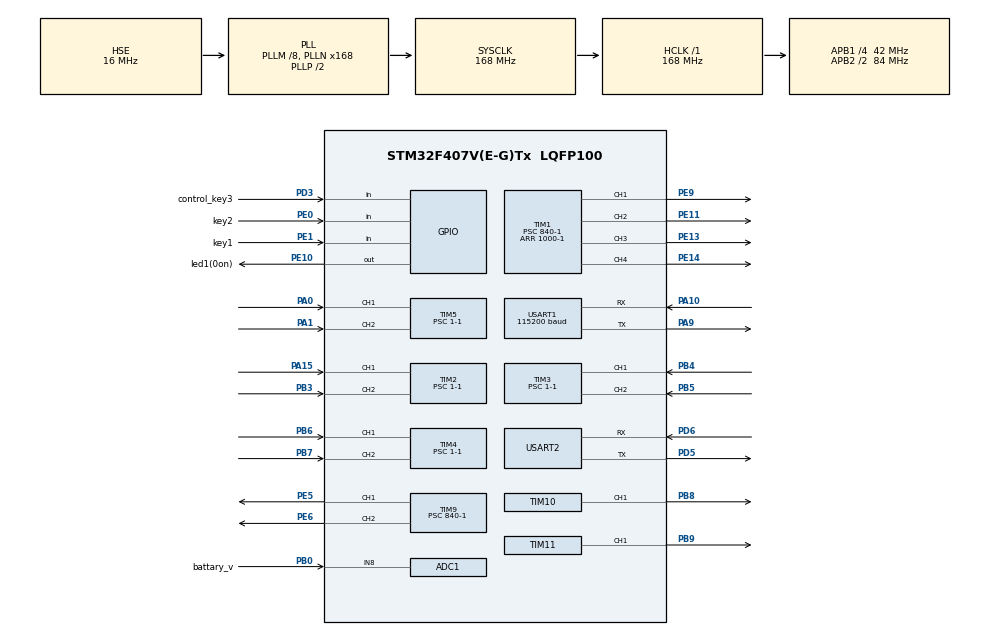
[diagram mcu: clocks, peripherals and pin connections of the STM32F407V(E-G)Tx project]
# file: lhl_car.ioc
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ADC1.Channel-0\#ChannelRegularConversion=ADC_CHANNEL_8
ADC1.ClockPrescaler=ADC_CLOCK_SYNC_PCLK_DIV8
ADC1.ContinuousConvMode=DISABLE
ADC1.DMAContinuousRequests=ENABLE
ADC1.EOCSelection=ADC_EOC_SINGLE_CONV
ADC1.EnableAnalogWatchDog=false
ADC1.ExternalTrigConv=ADC_EXTERNALTRIGCONV_T8_TRGO
ADC1.InjNumberOfConversion=0
ADC1.NbrOfConversion=1
ADC1.NbrOfConversionFlag=1
ADC1.Rank-0\#ChannelRegularConversion=1
ADC1.SamplingTime-0\#ChannelRegularConversion=ADC_SAMPLETIME_15CYCLES
ADC1.master=1
Dma.ADC1.0.Direction=DMA_PERIPH_TO_MEMORY
Dma.ADC1.0.FIFOMode=DMA_FIFOMODE_DISABLE
Dma.ADC1.0.Instance=DMA2_Stream0
Dma.ADC1.0.MemDataAlignment=DMA_MDATAALIGN_HALFWORD
Dma.ADC1.0.MemInc=DMA_MINC_ENABLE
Dma.ADC1.0.Mode=DMA_CIRCULAR
Dma.ADC1.0.PeriphDataAlignment=DMA_PDATAALIGN_HALFWORD
Dma.ADC1.0.PeriphInc=DMA_PINC_DISABLE
Dma.ADC1.0.Priority=DMA_PRIORITY_MEDIUM
Dma.Request0=ADC1
Dma.Request1=USART1_TX
Dma.USART1_TX.1.Direction=DMA_MEMORY_TO_PERIPH
Dma.USART1_TX.1.FIFOMode=DMA_FIFOMODE_DISABLE
Dma.USART1_TX.1.Instance=DMA2_Stream7
Dma.USART1_TX.1.MemDataAlignment=DMA_MDATAALIGN_BYTE
Dma.USART1_TX.1.MemInc=DMA_MINC_ENABLE
Dma.USART1_TX.1.Mode=DMA_NORMAL
Dma.USART1_TX.1.PeriphDataAlignment=DMA_PDATAALIGN_BYTE
Dma.USART1_TX.1.PeriphInc=DMA_PINC_DISABLE
Dma.USART1_TX.1.Priority=DMA_PRIORITY_HIGH
Mcu.Family=STM32F4
Mcu.Name=STM32F407V(E-G)Tx
Mcu.Package=LQFP100
NVIC.DMA2_Stream7_IRQn=true\:2\:2\:true\:false\:true\:true\:true\:true
NVIC.PriorityGroup=NVIC_PRIORITYGROUP_2
NVIC.TIM8_UP_TIM13_IRQn=true\:1\:1\:true\:false\:true\:true\:true\:true
NVIC.USART1_IRQn=true\:3\:3\:true\:false\:true\:true\:true\:true
NVIC.USART2_IRQn=true\:3\:3\:true\:false\:true\:true\:true\:true
PA0-WKUP.Signal=S_TIM5_CH1
PA1.Signal=S_TIM5_CH2
PA10.Mode=Asynchronous
PA10.Signal=USART1_RX
PA13.Mode=Serial_Wire
PA13.Signal=SYS_JTMS-SWDIO
PA14.Mode=Serial_Wire
PA14.Signal=SYS_JTCK-SWCLK
PA15.Signal=S_TIM2_CH1_ETR
PA9.Mode=Asynchronous
PA9.Signal=USART1_TX
PB0.GPIO_Label=battary_v
PB0.Signal=ADCx_IN8
PB3.Signal=S_TIM2_CH2
PB4.Signal=S_TIM3_CH1
PB5.Signal=S_TIM3_CH2
PB6.Signal=S_TIM4_CH1
PB7.Signal=S_TIM4_CH2
PB8.Signal=S_TIM10_CH1
PB9.Signal=S_TIM11_CH1
PD3.GPIO_Label=control_key3
PD3.GPIO_PuPd=GPIO_PULLDOWN
PD3.Signal=GPIO_Input
PD5.Mode=Asynchronous
PD5.Signal=USART2_TX
PD6.Mode=Asynchronous
PD6.Signal=USART2_RX
PE0.GPIO_Label=key2
PE0.GPIO_PuPd=GPIO_PULLUP
PE0.Signal=GPIO_Input
PE1.GPIO_Label=key1
PE1.GPIO_PuPd=GPIO_PULLUP
PE1.Signal=GPIO_Input
PE10.GPIO_Label=led1(0on)
PE10.GPIO_ModeDefaultOutputPP=GPIO_MODE_OUTPUT_PP
PE10.GPIO_PuPd=GPIO_PULLUP
PE10.GPIO_Speed=GPIO_SPEED_FREQ_LOW
PE10.PinState=GPIO_PIN_RESET
PE10.Signal=GPIO_Output
PE11.Signal=S_TIM1_CH2
PE13.Signal=S_TIM1_CH3
PE14.Signal=S_TIM1_CH4
PE5.Signal=S_TIM9_CH1
PE6.Signal=S_TIM9_CH2
PE9.Signal=S_TIM1_CH1
PH0-OSC_IN.Mode=HSE-External-Oscillator
PH0-OSC_IN.Signal=RCC_OSC_IN
PH1-OSC_OUT.Mode=HSE-External-Oscillator
PH1-OSC_OUT.Signal=RCC_OSC_OUT
ProjectManager.HeapSize=0x200
ProjectManager.StackSize=0x400
ProjectManager.TargetToolchain=MDK-ARM V5
RCC.48MHZClocksFreq_Value=84000000
RCC.AHBFreq_Value=168000000
RCC.APB1CLKDivider=RCC_HCLK_DIV4
RCC.APB1Freq_Value=42000000
RCC.APB1TimFreq_Value=84000000
RCC.APB2CLKDivider=RCC_HCLK_DIV2
RCC.APB2Freq_Value=84000000
RCC.APB2TimFreq_Value=168000000
RCC.CortexFreq_Value=168000000
RCC.HCLKFreq_Value=168000000
RCC.HSE_VALUE=16000000
RCC.HSI_VALUE=16000000
RCC.LSE_VALUE=32768
RCC.PLLM=8
RCC.PLLN=168
RCC.PLLSourceVirtual=RCC_PLLSOURCE_HSE
RCC.SYSCLKFreq_VALUE=168000000
RCC.SYSCLKSource=RCC_SYSCLKSOURCE_PLLCLK
RCC.VCOOutputFreq_Value=336000000
SH.ADCx_IN8.0=ADC1_IN8,IN8
SH.S_TIM10_CH1.0=TIM10_CH1,PWM Generation1 CH1
SH.S_TIM11_CH1.0=TIM11_CH1,PWM Generation1 CH1
SH.S_TIM1_CH1.0=TIM1_CH1,PWM Generation1 CH1
SH.S_TIM1_CH2.0=TIM1_CH2,PWM Generation2 CH2
SH.S_TIM1_CH3.0=TIM1_CH3,PWM Generation3 CH3
SH.S_TIM1_CH4.0=TIM1_CH4,PWM Generation4 CH4
SH.S_TIM2_CH1_ETR.0=TIM2_CH1,Encoder_Interface
SH.S_TIM2_CH2.0=TIM2_CH2,Encoder_Interface
SH.S_TIM3_CH1.0=TIM3_CH1,Encoder_Interface
SH.S_TIM3_CH2.0=TIM3_CH2,Encoder_Interface
SH.S_TIM4_CH1.0=TIM4_CH1,Encoder_Interface
SH.S_TIM4_CH2.0=TIM4_CH2,Encoder_Interface
SH.S_TIM5_CH1.0=TIM5_CH1,Encoder_Interface
SH.S_TIM5_CH2.0=TIM5_CH2,Encoder_Interface
SH.S_TIM9_CH1.0=TIM9_CH1,PWM Generation1 CH1
SH.S_TIM9_CH2.0=TIM9_CH2,PWM Generation2 CH2
TIM1.AutoReloadPreload=TIM_AUTORELOAD_PRELOAD_ENABLE
TIM1.Channel-PWM\ Generation1\ CH1=TIM_CHANNEL_1
TIM1.Channel-PWM\ Generation2\ CH2=TIM_CHANNEL_2
TIM1.Channel-PWM\ Generation3\ CH3=TIM_CHANNEL_3
TIM1.Channel-PWM\ Generation4\ CH4=TIM_CHANNEL_4
TIM1.Period=1000-1
TIM1.Prescaler=840-1
TIM1.TIM_MasterOutputTrigger=TIM_TRGO_RESET
TIM1.TIM_MasterSlaveMode=TIM_MASTERSLAVEMODE_DISABLE
TIM10.AutoReloadPreload=TIM_AUTORELOAD_PRELOAD_ENABLE
TIM10.Channel=TIM_CHANNEL_1
TIM10.Period=1000-1
TIM10.Prescaler=840-1
TIM11.AutoReloadPreload=TIM_AUTORELOAD_PRELOAD_ENABLE
TIM11.Channel=TIM_CHANNEL_1
TIM11.Period=1000-1
TIM11.Prescaler=840-1
TIM2.AutoReloadPreload=TIM_AUTORELOAD_PRELOAD_ENABLE
TIM2.EncoderMode=TIM_ENCODERMODE_TI12
TIM2.IC1Filter=0x06
TIM2.IC2Filter=0x06
TIM2.Period=65535
TIM2.Prescaler=1-1
TIM2.TIM_MasterOutputTrigger=TIM_TRGO_RESET
TIM2.TIM_MasterSlaveMode=TIM_MASTERSLAVEMODE_DISABLE
TIM3.AutoReloadPreload=TIM_AUTORELOAD_PRELOAD_ENABLE
TIM3.EncoderMode=TIM_ENCODERMODE_TI12
TIM3.IC1Filter=0x06
TIM3.IC2Filter=0x06
TIM3.Prescaler=1-1
TIM4.AutoReloadPreload=TIM_AUTORELOAD_PRELOAD_ENABLE
TIM4.EncoderMode=TIM_ENCODERMODE_TI12
TIM4.IC1Filter=0x06
TIM4.IC2Filter=0x06
TIM4.Period=65535
TIM4.Prescaler=1-1
TIM5.AutoReloadPreload=TIM_AUTORELOAD_PRELOAD_ENABLE
TIM5.EncoderMode=TIM_ENCODERMODE_TI12
TIM5.IC1Filter=0x06
TIM5.IC1Polarity=TIM_ICPOLARITY_FALLING
TIM5.IC2Filter=0x06
TIM5.Period=65535
TIM5.Prescaler=1-1
TIM8.AutoReloadPreload=TIM_AUTORELOAD_PRELOAD_ENABLE
TIM8.Period=10000-1
TIM8.Prescaler=840-1
TIM8.TIM_MasterOutputTrigger=TIM_TRGO_UPDATE
TIM9.AutoReloadPreload=TIM_AUTORELOAD_PRELOAD_ENABLE
TIM9.Channel-PWM\ Generation1\ CH1=TIM_CHANNEL_1
TIM9.Channel-PWM\ Generation2\ CH2=TIM_CHANNEL_2
TIM9.Period=1000-1
TIM9.Prescaler=840-1
USART1.BaudRate=115200
USART1.OverSampling=UART_OVERSAMPLING_16
USART1.VirtualMode=VM_ASYNC
USART2.OverSampling=UART_OVERSAMPLING_16
USART2.VirtualMode=VM_ASYNC
VP_TIM10_VS_ClockSourceINT.Mode=Enable_Timer
VP_TIM11_VS_ClockSourceINT.Mode=Enable_Timer
VP_TIM1_VS_ClockSourceINT.Mode=Internal
VP_TIM8_VS_ClockSourceINT.Mode=Internal
VP_TIM9_VS_ClockSourceINT.Mode=Internal
board=custom

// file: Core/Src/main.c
/* USER CODE BEGIN Header */
/**
  ******************************************************************************
  * @file           : main.c
  * @brief          : Main program body
  ******************************************************************************
  * @attention
  *
  * Copyright (c) 2025 STMicroelectronics.
  * All rights reserved.
  *
  * This software is licensed under terms that can be found in the LICENSE file
  * in the root directory of this software component.
  * If no LICENSE file comes with this software, it is provided AS-IS.
  *
  ******************************************************************************
  */
/* USER CODE END Header */
#include "main.h"
#include "adc.h"
#include "dma.h"
#include "tim.h"
#include "usart.h"
#include "gpio.h"

void SystemClock_Config(void);

/* USER CODE BEGIN 0 */

//uint8_t readbuffer[128];//环形

//空闲接收时先串口中断，如果持续dma中断则是dma进中断而串口不进
void HAL_UARTEx_RxEventCallback(UART_HandleTypeDef *huart, uint16_t Size)
{
	if(huart==&huart1)//给上位机的
{
	Command_Write(readbuffer,Size);
	//serial_printf("RDK%d",Command_Write(readbuffer,Size));
	HAL_UARTEx_ReceiveToIdle_IT(&huart1,readbuffer,sizeof(readbuffer));

	//HAL_UARTEx_RxEventCallback(UART_HandleTypeDef *huart, uint16_t Size)
//功能：HAL_UARTEx_ReceiveToIdle_DMA()的中断回调函数（需用户重写）。
}
else if(huart==&huart2)//给蓝牙的
{//serial_printf("BLE%d",Command_Write(readbuffer,Size));
	Command_Write(readbuffer,Size);
	HAL_UARTEx_ReceiveToIdle_IT(&huart2,readbuffer,sizeof(readbuffer));

	//HAL_UARTEx_RxEventCallback(UART_HandleTypeDef *huart, uint16_t Size)
//功能：HAL_UARTEx_ReceiveToIdle_DMA()的中断回调函数（需用户重写）。
}
//else if(huart==&huart4)
//{
//	if(The_task.is_ok==nothing)
//	{The_task.is_ok=something;
//	led1_on();}
//}
}

//发给上位机，若用了dma则只有dma进中断
void HAL_UART_TxCpltCallback(UART_HandleTypeDef *huart) {//必须开dma的中断，因为用dma发送的，要让dma叫,uart handle里面会判断如果是dma那就清除
    if (huart == &huart1) {
        // 空实现即可，但必须重写（覆盖弱函数）
        // 作用：HAL 库会在此回调中重置 gState 为 READY
//			__HAL_UART_CLEAR_FLAG(&huart1,UART_FLAG_TC);
//			huart->gState = HAL_UART_STATE_READY;
    }
}
/* USER CODE END 0 */

int main(void)
{

  /* MCU Configuration--------------------------------------------------------*/

  /* Reset of all peripherals, Initializes the Flash interface and the Systick. */
  HAL_Init();

  /* Configure the system clock */
  SystemClock_Config();

  /* Initialize all configured peripherals */
  MX_GPIO_Init();
  MX_DMA_Init();
  MX_USART1_UART_Init();
  MX_ADC1_Init();
  MX_TIM2_Init();
  MX_TIM1_Init();
  MX_TIM4_Init();
  MX_TIM5_Init();
  MX_TIM9_Init();
  MX_USART2_UART_Init();
  MX_TIM3_Init();
  MX_TIM10_Init();
  MX_TIM11_Init();
  MX_TIM8_Init();

  /* Infinite loop */
  /* USER CODE BEGIN WHILE */

HAL_UARTEx_ReceiveToIdle_IT(&huart1,readbuffer,sizeof(readbuffer));//上位机接收
HAL_UARTEx_ReceiveToIdle_IT(&huart2,readbuffer,sizeof(readbuffer));//蓝牙
dma_adc_init();
motor_init();
//set_v(100,1);
//set_v(1000,2);
//task_init();

  while (1)
  {//serial_printf("1111111%d",key_getnum());
//if(key_getnum()==1){HAL_UARTEx_ReceiveToIdle_IT(&huart2,readbuffer,sizeof(readbuffer)); led1_turn();}//蓝牙
//else if(key_getnum()==2){HAL_UARTEx_ReceiveToIdle_IT(&huart4,&The_task.which,1); led1_turn();HAL_Delay(1000);led1_turn();}//扫码任务
//else if(key_getnum()==3){check_self();}
		//send_msg();
    //commandLength = while_Command_GetCommand(command);

while_Command_GetCommand(now_command);
use_msg(now_command);//注意清这个全局
		//serial_printf("whilefirst%d,last%f",unhandle_msg[0],dma_start_collect(unhandle_msg));
    /* USER CODE END WHILE */

  }
}

void SystemClock_Config(void)
{
  RCC_OscInitTypeDef RCC_OscInitStruct = {0};
  RCC_ClkInitTypeDef RCC_ClkInitStruct = {0};

  /** Configure the main internal regulator output voltage
  */
  __HAL_RCC_PWR_CLK_ENABLE();
  __HAL_PWR_VOLTAGESCALING_CONFIG(PWR_REGULATOR_VOLTAGE_SCALE1);

  /** Initializes the RCC Oscillators according to the specified parameters
  * in the RCC_OscInitTypeDef structure.
  */
  RCC_OscInitStruct.OscillatorType = RCC_OSCILLATORTYPE_HSE;
  RCC_OscInitStruct.HSEState = RCC_HSE_ON;
  RCC_OscInitStruct.PLL.PLLState = RCC_PLL_ON;
  RCC_OscInitStruct.PLL.PLLSource = RCC_PLLSOURCE_HSE;
  RCC_OscInitStruct.PLL.PLLM = 8;
  RCC_OscInitStruct.PLL.PLLN = 168;
  RCC_OscInitStruct.PLL.PLLP = RCC_PLLP_DIV2;
  RCC_OscInitStruct.PLL.PLLQ = 4;
  if (HAL_RCC_OscConfig(&RCC_OscInitStruct) != HAL_OK)
  {
    Error_Handler();
  }

  /** Initializes the CPU, AHB and APB buses clocks
  */
  RCC_ClkInitStruct.ClockType = RCC_CLOCKTYPE_HCLK|RCC_CLOCKTYPE_SYSCLK
                              |RCC_CLOCKTYPE_PCLK1|RCC_CLOCKTYPE_PCLK2;
  RCC_ClkInitStruct.SYSCLKSource = RCC_SYSCLKSOURCE_PLLCLK;
  RCC_ClkInitStruct.AHBCLKDivider = RCC_SYSCLK_DIV1;
  RCC_ClkInitStruct.APB1CLKDivider = RCC_HCLK_DIV4;
  RCC_ClkInitStruct.APB2CLKDivider = RCC_HCLK_DIV2;

  if (HAL_RCC_ClockConfig(&RCC_ClkInitStruct, FLASH_LATENCY_5) != HAL_OK)
  {
    Error_Handler();
  }
}

void Error_Handler(void)
{
  __disable_irq();
  while (1)
  {
  }
}
